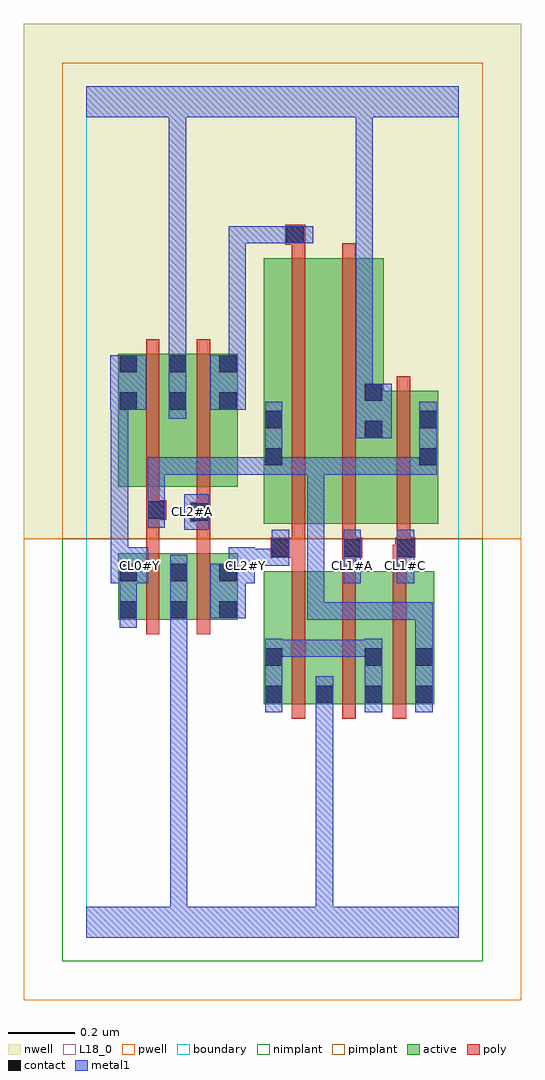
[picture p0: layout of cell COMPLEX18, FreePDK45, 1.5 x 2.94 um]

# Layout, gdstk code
import gdstk
lib = gdstk.Library(unit=1e-6, precision=1e-09)
def R(c, l, rs):  # rectangles x0, y0, x1, y1
    for r in rs: c.add(gdstk.rectangle(r[:2], r[2:], *l))
def A(c, l, x, y, w, h, nx, ny, dx, dy):  # array of equal rectangles
    R(c, l, [(x+i*dx, y+j*dy, x+i*dx+w, y+j*dy+h) for i in range(nx) for j in range(ny)])
active = (1, 0)
pwell = (2, 0)
nwell = (3, 0)
nimplant = (4, 0)
pimplant = (5, 0)
poly = (9, 0)
contact = (10, 0)
metal1 = (11, 0)
L18_0 = (18, 0)
boundary = (235, 0)

complex18 = lib.new_cell('COMPLEX18')
R(complex18, active, [(0.534,0.702,0.594,1.102), (0.534,0.702,0.746,1.102), (0.686,0.702,0.894,1.102), (0.686,0.702,0.746,0.828), (0.834,0.702,0.894,1.102), (0.834,0.702,1.046,1.102), (0.986,0.702,1.046,1.102), (0.096,0.956,0.156,1.156), (0.096,0.956,0.308,1.156), (0.248,0.956,0.456,1.156), (0.248,0.956,0.308,1.128), (0.396,0.956,0.456,1.156), (0.534,1.244,0.714,2.044), (0.534,1.244,0.594,2.044), (0.714,1.244,0.894,2.044), (0.834,1.244,1.058,1.644), (0.998,1.244,1.058,1.644), (0.096,1.356,0.156,1.756), (0.096,1.356,0.304,1.756), (0.244,1.356,0.456,1.756), (0.396,1.356,0.456,1.756), (0.244,1.456,0.304,1.756), (0.834,1.498,0.894,2.044)])
R(complex18, pwell, [(-0.188,-0.188,1.308,1.2)])
R(complex18, nwell, [(-0.188,1.2,1.308,2.748)])
R(complex18, nimplant, [(-0.072,-0.072,1.192,1.2)])
R(complex18, pimplant, [(-0.072,1.2,1.192,2.632)])
A(complex18, poly, 0.618, 0.658, 0.04, 0.488, 3, 1, 0.152, 0)
A(complex18, poly, 0.618, 1.106, 0.04, 0.076, 3, 1, 0.152, 0)
R(complex18, poly, [(0.18,0.912,0.22,1.2), (0.332,0.912,0.372,1.2), (0.554,1.142,0.658,1.202), (0.77,1.142,0.81,1.182), (0.77,1.142,0.81,1.182), (0.77,1.142,0.83,1.202), (0.922,1.142,0.97,1.182), (0.93,1.142,0.97,1.182), (0.93,1.142,0.99,1.202), (0.18,1.16,0.22,1.296), (0.332,1.16,0.372,1.29), (0.618,1.162,0.658,1.24), (0.618,1.162,0.658,1.202), (0.618,1.162,0.658,1.202), (0.77,1.162,0.81,1.24), (0.934,1.162,0.974,1.24), (0.618,1.2,0.658,2.088), (0.77,1.2,0.81,2.088), (0.934,1.2,0.974,1.688), (0.312,1.25,0.372,1.31), (0.18,1.256,0.22,1.296), (0.18,1.256,0.22,1.296), (0.18,1.256,0.24,1.316), (0.332,1.27,0.372,1.31), (0.332,1.27,0.372,1.31), (0.332,1.27,0.372,1.352), (0.18,1.276,0.22,1.352), (0.18,1.312,0.22,1.8), (0.332,1.312,0.372,1.8), (0.618,2.048,0.658,2.124), (0.598,2.084,0.658,2.144)])
R(complex18, contact, [(0.538,0.706,0.59,0.758), (0.69,0.706,0.742,0.758), (0.838,0.706,0.89,0.758), (0.99,0.706,1.042,0.758), (0.538,0.818,0.59,0.87), (0.838,0.818,0.89,0.87), (0.99,0.818,1.042,0.87), (0.1,0.96,0.152,1.012), (0.252,0.96,0.304,1.012), (0.4,0.96,0.452,1.012), (0.1,1.072,0.152,1.124), (0.252,1.072,0.304,1.124), (0.4,1.072,0.452,1.124), (0.558,1.146,0.61,1.198), (0.774,1.146,0.826,1.198), (0.934,1.146,0.986,1.198), (0.316,1.254,0.368,1.306), (0.184,1.26,0.236,1.312), (0.538,1.42,0.59,1.472), (1.002,1.42,1.054,1.472), (0.838,1.502,0.89,1.554), (0.538,1.532,0.59,1.584), (1.002,1.532,1.054,1.584), (0.1,1.588,0.152,1.64), (0.248,1.588,0.3,1.64), (0.4,1.588,0.452,1.64), (0.838,1.614,0.89,1.666), (0.1,1.7,0.152,1.752), (0.248,1.7,0.3,1.752), (0.4,1.7,0.452,1.752), (0.602,2.088,0.654,2.14)])
R(complex18, metal1, [(0,0,1.12,0.092), (0.252,0.04,0.304,0.092), (0.252,0.04,0.304,0.092), (0.252,0.04,0.304,0.984), (0.69,0.04,0.742,0.092), (0.69,0.04,0.742,0.092), (0.69,0.04,0.742,0.092), (0.69,0.04,0.742,0.092), (0.69,0.04,0.742,0.092), (0.69,0.04,0.742,0.092), (0.69,0.04,0.742,0.092), (0.69,0.04,0.742,0.092), (0.69,0.04,0.742,0.73), (0.538,0.678,0.59,0.898), (0.69,0.678,0.742,0.73), (0.69,0.678,0.742,0.73), (0.69,0.678,0.742,0.73), (0.69,0.678,0.742,0.73), (0.69,0.678,0.742,0.786), (0.838,0.678,0.89,0.898), (0.99,0.678,1.042,0.898), (0.538,0.844,0.616,0.896), (0.564,0.844,0.616,0.896), (0.564,0.844,0.752,0.896), (0.7,0.844,0.752,0.896), (0.7,0.844,0.752,0.896), (0.7,0.844,0.752,0.896), (0.7,0.844,0.89,0.896), (0.99,0.846,1.042,1.008), (0.1,0.932,0.152,1.152), (0.252,0.932,0.304,0.984), (0.252,0.932,0.304,0.984), (0.252,0.932,0.304,0.984), (0.252,0.932,0.304,0.984), (0.252,0.932,0.304,0.984), (0.252,0.932,0.304,0.984), (0.252,0.932,0.304,0.984), (0.252,0.932,0.304,0.984), (0.252,0.932,0.304,0.984), (0.252,0.932,0.304,0.984), (0.252,0.932,0.304,0.984), (0.252,0.932,0.304,0.984), (0.252,0.932,0.304,0.984), (0.252,0.932,0.304,0.984), (0.252,0.932,0.304,1.152), (0.664,0.956,0.716,1.008), (0.664,0.956,0.876,1.008), (0.664,0.956,0.716,1.444), (0.824,0.956,0.876,1.008), (0.824,0.956,0.876,1.008), (0.824,0.956,0.876,1.008), (0.824,0.956,1.042,1.008), (0.99,0.956,1.042,1.008), (0.99,0.956,1.042,1.008), (0.99,0.956,1.042,1.008), (0.372,0.96,0.48,1.124), (0.074,1.066,0.186,1.174), (0.428,1.066,0.48,1.118), (0.428,1.066,0.506,1.174), (0.774,1.066,0.826,1.226), (0.934,1.066,0.986,1.226), (0.1,1.1,0.152,1.152), (0.454,1.118,0.506,1.17), (0.454,1.118,0.506,1.17), (0.454,1.118,0.61,1.17), (0.558,1.118,0.61,1.226), (0.074,1.122,0.126,1.174), (0.074,1.122,0.126,1.174), (0.074,1.122,0.126,1.64), (0.294,1.226,0.368,1.334), (0.184,1.232,0.236,1.34), (0.184,1.288,0.236,1.34), (0.184,1.288,0.236,1.444), (0.184,1.392,0.37,1.444), (0.318,1.392,0.37,1.444), (0.318,1.392,0.37,1.444), (0.318,1.392,0.37,1.444), (0.318,1.392,0.59,1.444), (0.538,1.392,0.59,1.444), (0.538,1.392,0.59,1.444), (0.538,1.392,0.59,1.612), (0.538,1.392,0.616,1.444), (0.538,1.392,0.616,1.444), (0.564,1.392,0.616,1.444), (0.564,1.392,0.616,1.444), (0.564,1.392,0.752,1.444), (0.564,1.392,0.716,1.444), (0.664,1.392,0.716,1.444), (0.7,1.392,0.752,1.444), (0.7,1.392,0.876,1.444), (0.824,1.392,0.876,1.444), (0.824,1.392,0.876,1.444), (0.824,1.392,0.876,1.444), (0.824,1.392,1.054,1.444), (1.002,1.392,1.054,1.444), (1.002,1.392,1.054,1.444), (1.002,1.392,1.054,1.612), (0.81,1.502,0.918,1.666), (0.248,1.56,0.3,1.78), (0.072,1.588,0.18,1.752), (0.372,1.588,0.48,1.752), (0.81,1.614,0.862,1.666), (0.81,1.614,0.862,1.666), (0.81,1.614,0.862,2.52), (0.428,1.7,0.48,1.752), (0.428,1.7,0.48,1.752), (0.428,1.7,0.48,1.752), (0.428,1.7,0.48,1.752), (0.428,1.7,0.48,1.752), (0.428,1.7,0.48,1.752), (0.428,1.7,0.48,1.752), (0.428,1.7,0.48,1.752), (0.428,1.7,0.48,2.14), (0.248,1.728,0.3,2.13), (0.248,2.078,0.3,2.13), (0.248,2.078,0.3,2.13), (0.248,2.078,0.3,2.13), (0.248,2.078,0.3,2.13), (0.248,2.078,0.3,2.13), (0.248,2.078,0.3,2.13), (0.248,2.078,0.3,2.13), (0.248,2.078,0.3,2.13), (0.248,2.078,0.3,2.13), (0.248,2.078,0.3,2.52), (0.428,2.088,0.48,2.14), (0.428,2.088,0.48,2.14), (0.428,2.088,0.48,2.14), (0.428,2.088,0.626,2.14), (0.574,2.088,0.682,2.14), (0,2.468,1.12,2.56), (0.248,2.468,0.3,2.52), (0.248,2.468,0.3,2.52), (0.248,2.468,0.3,2.52), (0.248,2.468,0.3,2.52), (0.248,2.468,0.3,2.52), (0.248,2.468,0.3,2.52), (0.81,2.468,0.862,2.52), (0.81,2.468,0.862,2.52), (0.81,2.468,0.862,2.52), (0.81,2.468,0.862,2.52), (0.81,2.468,0.862,2.52), (0.81,2.468,0.862,2.52)])
A(complex18, L18_0, 0.134, 1.094, 0.052, 0.052, 3, 1, 0.32, 0)
R(complex18, L18_0, [(0,0,1.12,0.092), (0.252,0.04,0.304,0.092), (0.252,0.04,0.304,0.092), (0.252,0.04,0.304,0.984), (0.69,0.04,0.742,0.092), (0.69,0.04,0.742,0.092), (0.69,0.04,0.742,0.092), (0.69,0.04,0.742,0.092), (0.69,0.04,0.742,0.092), (0.69,0.04,0.742,0.092), (0.69,0.04,0.742,0.092), (0.69,0.04,0.742,0.092), (0.69,0.04,0.742,0.73), (0.69,0.678,0.742,0.73), (0.69,0.678,0.742,0.73), (0.69,0.678,0.742,0.73), (0.69,0.678,0.742,0.73), (0.69,0.678,0.742,0.786), (0.1,0.932,0.152,1.152), (0.252,0.932,0.304,1.152), (0.252,0.932,0.304,0.984), (0.252,0.932,0.304,0.984), (0.252,0.932,0.304,0.984), (0.252,0.932,0.304,0.984), (0.252,0.932,0.304,0.984), (0.252,0.932,0.304,0.984), (0.252,0.932,0.304,0.984), (0.252,0.932,0.304,0.984), (0.252,0.932,0.304,0.984), (0.252,0.932,0.304,0.984), (0.252,0.932,0.304,0.984), (0.252,0.932,0.304,0.984), (0.252,0.932,0.304,0.984), (0.252,0.932,0.304,0.984), (0.372,0.96,0.48,1.124), (0.074,1.066,0.186,1.174), (0.428,1.066,0.48,1.118), (0.428,1.066,0.506,1.174), (0.774,1.066,0.826,1.226), (0.934,1.066,0.986,1.226), (0.934,1.094,0.986,1.146), (0.1,1.1,0.152,1.152), (0.454,1.118,0.506,1.17), (0.454,1.118,0.506,1.17), (0.454,1.118,0.61,1.17), (0.558,1.118,0.61,1.226), (0.074,1.122,0.126,1.174), (0.074,1.122,0.126,1.174), (0.074,1.122,0.126,1.64), (0.294,1.226,0.368,1.334), (0.294,1.254,0.346,1.306), (0.81,1.502,0.918,1.666), (0.248,1.56,0.3,1.78), (0.072,1.588,0.18,1.752), (0.372,1.588,0.48,1.752), (0.81,1.614,0.862,1.666), (0.81,1.614,0.862,1.666), (0.81,1.614,0.862,2.52), (0.428,1.7,0.48,1.752), (0.428,1.7,0.48,1.752), (0.428,1.7,0.48,1.752), (0.428,1.7,0.48,1.752), (0.428,1.7,0.48,1.752), (0.428,1.7,0.48,1.752), (0.428,1.7,0.48,1.752), (0.428,1.7,0.48,1.752), (0.428,1.7,0.48,2.14), (0.248,1.728,0.3,2.13), (0.248,2.078,0.3,2.13), (0.248,2.078,0.3,2.13), (0.248,2.078,0.3,2.13), (0.248,2.078,0.3,2.13), (0.248,2.078,0.3,2.13), (0.248,2.078,0.3,2.13), (0.248,2.078,0.3,2.13), (0.248,2.078,0.3,2.13), (0.248,2.078,0.3,2.13), (0.248,2.078,0.3,2.52), (0.428,2.088,0.48,2.14), (0.428,2.088,0.48,2.14), (0.428,2.088,0.48,2.14), (0.428,2.088,0.626,2.14), (0.574,2.088,0.682,2.14), (0,2.468,1.12,2.56), (0.248,2.468,0.3,2.52), (0.248,2.468,0.3,2.52), (0.248,2.468,0.3,2.52), (0.248,2.468,0.3,2.52), (0.248,2.468,0.3,2.52), (0.248,2.468,0.3,2.52), (0.81,2.468,0.862,2.52), (0.81,2.468,0.862,2.52), (0.81,2.468,0.862,2.52), (0.81,2.468,0.862,2.52), (0.81,2.468,0.862,2.52), (0.81,2.468,0.862,2.52)])
R(complex18, boundary, [(0,0,1.12,2.56)])
complex18.add(gdstk.Label('CL0#Y', (0.16,1.12), layer=11, texttype=0))
complex18.add(gdstk.Label('CL1#A', (0.8,1.12), layer=11, texttype=0))
complex18.add(gdstk.Label('CL1#C', (0.96,1.12), layer=11, texttype=0))
complex18.add(gdstk.Label('CL2#A', (0.32,1.28), layer=11, texttype=0))
complex18.add(gdstk.Label('CL2#Y', (0.48,1.12), layer=11, texttype=0))

lib.write_gds('COMPLEX18.gds')
